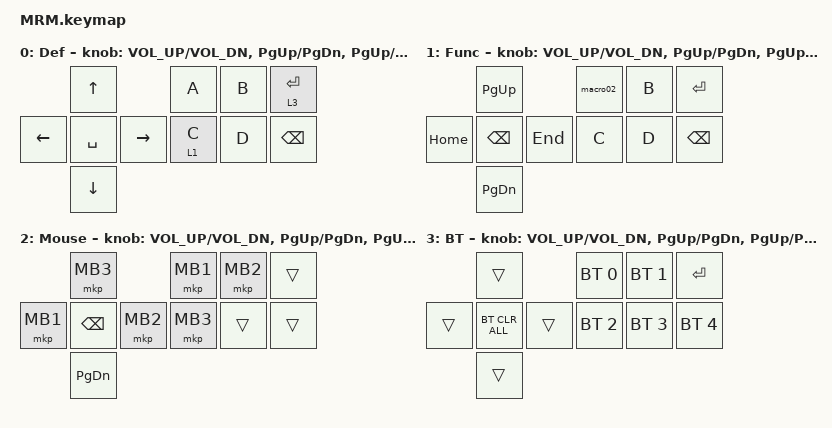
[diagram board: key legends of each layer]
#include <behaviors.dtsi>
#include <dt-bindings/zmk/bt.h>
#include <dt-bindings/zmk/keys.h>
#include <dt-bindings/zmk/pointing.h>

#define DEF 0
#define FUNC 1
#define MOUSE 2
#define BT 3

/ {
    macros {
        macro01: macro01 {
            compatible = "zmk,behavior-macro";
            #binding-cells = <0>;
            bindings = <&kp N7 &kp N6 &kp N5 &kp N0 &kp RET>;
            label = "MACRO01";
        };
        macro02: macro02 {
            compatible = "zmk,behavior-macro";
            #binding-cells = <0>;
            bindings
                = <&macro_press &kp LSHFT>
                , <&macro_tap &kp G>
                , <&macro_release &kp LSHFT>
                , <&macro_tap &kp F &kp N8 &kp F &kp N1 &kp N1 &kp N3 &kp N8 &kp RET>
                ;
            label = "MACRO02";
        };
        macro03: macro03 {
            compatible = "zmk,behavior-macro";
            #binding-cells = <0>;
            bindings
                = <&macro_tap &kp S>
                , <&macro_press &kp LSHFT>
                , <&macro_tap &kp U>
                , <&macro_release &kp LSHFT>
                , <&macro_tap &kp N2 &kp G &kp E &kp N7 &kp Q &kp RET>
                ;
            label = "MACRO03";
        };
        macro04: macro04 {
            compatible = "zmk,behavior-macro";
            #binding-cells = <0>;
            bindings
                = <&macro_press &kp LSHFT>
                , <&macro_tap &kp I>
                , <&macro_release &kp LSHFT>
                , <&macro_tap &kp N &kp O &kp S &kp H &kp I &kp K &kp A &kp N4 &kp N1 &kp N2 &kp N6 &kp RET>
                ;
            label = "MACRO04";
        };
        macro05: macro05 {
            compatible = "zmk,behavior-macro";
            #binding-cells = <0>;
            bindings
                = <&macro_press &kp LSHFT>
                , <&macro_tap &kp A>
                , <&macro_release &kp LSHFT>
                , <&macro_tap &kp N8 &kp J &kp I &kp M &kp N5 &kp N9 &kp N6 &kp N3 &kp RET>
                ;
            label = "MACRO05";
        };
        macro06: macro06 {
            compatible = "zmk,behavior-macro";
            #binding-cells = <0>;
            bindings
                = <&macro_press &kp LSHFT>
                , <&macro_tap &kp T>
                , <&macro_release &kp LSHFT>
                , <&macro_tap &kp E &kp S &kp A>
                , <&macro_press &kp LSHFT>
                , <&macro_tap &kp S>
                , <&macro_release &kp LSHFT>
                , <&macro_tap &kp P &kp A &kp T>
                , <&macro_press &kp LSHFT>
                , <&macro_tap &kp V>
                , <&macro_release &kp LSHFT>
                , <&macro_tap &kp N5 &kp RET>
                ;
            label = "MACRO06";
        };
        macro07: macro07 {
            compatible = "zmk,behavior-macro";
            #binding-cells = <0>;
            bindings
                = <&macro_tap &kp J &kp H &kp N2 &kp D>
                , <&macro_press &kp LSHFT>
                , <&macro_tap &kp M &kp A &kp H>
                , <&macro_release &kp LSHFT>
                , <&macro_tap &kp N5 &kp RET>
                ;
            label = "MACRO07";
        };
};

    keymap {
        compatible = "zmk,keymap";

        default_layer {
            label = "Def";
            bindings = <
          &kp UP                &kp A    &kp B  &lt 3 ENTER
&kp LEFT  &kp SPACE  &kp RIGHT  &lt 1 C  &kp D  &kp BKSP
          &kp DOWN
            >;

            sensor-bindings = <&inc_dec_kp C_VOL_UP C_VOL_DN &inc_dec_kp PG_UP PG_DN &inc_dec_kp PG_UP PG_DN>;
        };

        func_layer {
            label = "Func";
            bindings = <
          &kp PG_UP           &macro02  &kp B  &kp ENTER
&kp HOME  &kp BKSP   &kp END  &kp C     &kp D  &kp BKSP
          &kp PG_DN
            >;

            sensor-bindings = <&inc_dec_kp C_VOL_UP C_VOL_DN &inc_dec_kp PG_UP PG_DN &inc_dec_kp PG_UP PG_DN>;
        };

        mouse_layer {
            label = "Mouse";
            bindings = <
          &mkp MB3             &mkp MB1  &mkp MB2  &trans
&mkp MB1  &kp BKSP   &mkp MB2  &mkp MB3  &trans    &trans
          &kp PG_DN
            >;

            sensor-bindings = <&inc_dec_kp C_VOL_UP C_VOL_DN &inc_dec_kp PG_UP PG_DN &inc_dec_kp PG_UP PG_DN>;
        };

        bt_layer {
            label = "BT";
            bindings = <
        &trans                  &bt BT_SEL 0  &bt BT_SEL 1  &kp ENTER
&trans  &bt BT_CLR_ALL  &trans  &bt BT_SEL 2  &bt BT_SEL 3  &bt BT_SEL 4
        &trans
            >;

            sensor-bindings = <&inc_dec_kp C_VOL_UP C_VOL_DN &inc_dec_kp PG_UP PG_DN &inc_dec_kp PG_UP PG_DN>;
        };
    };
};
